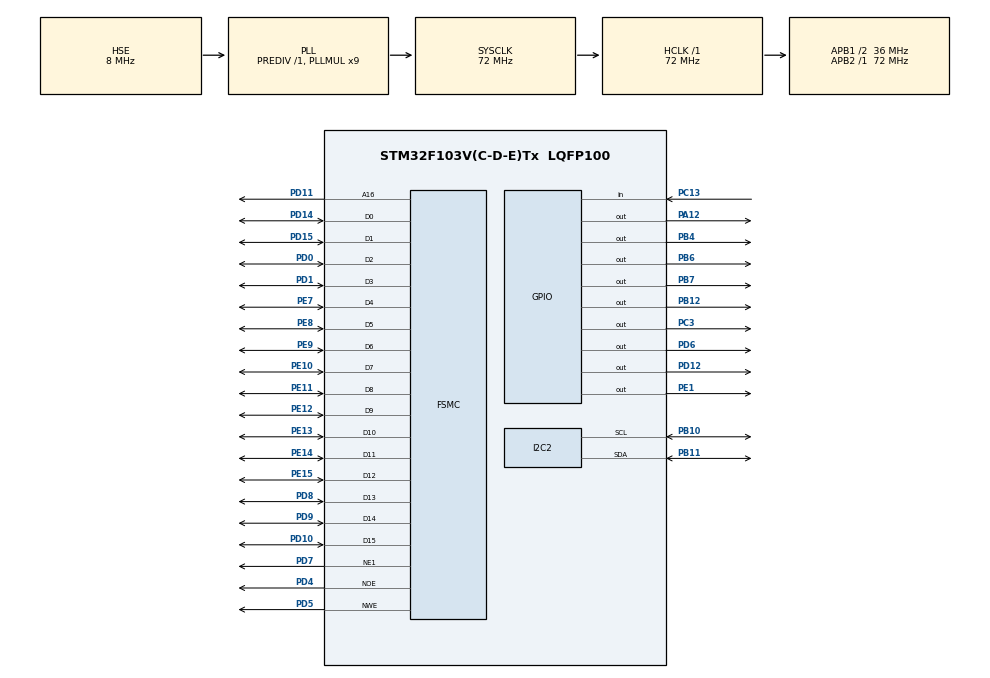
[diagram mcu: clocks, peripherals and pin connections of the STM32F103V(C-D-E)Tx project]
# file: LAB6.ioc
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Mcu.Family=STM32F1
Mcu.Name=STM32F103V(C-D-E)Tx
Mcu.Package=LQFP100
NVIC.PriorityGroup=NVIC_PRIORITYGROUP_4
OSC_IN.Mode=HSE-External-Oscillator
OSC_IN.Signal=RCC_OSC_IN
OSC_OUT.Mode=HSE-External-Oscillator
OSC_OUT.Signal=RCC_OSC_OUT
PA12.GPIO_PuPd=GPIO_PULLUP
PA12.GPIO_Speed=GPIO_SPEED_FREQ_HIGH
PA12.PinState=GPIO_PIN_SET
PA12.Signal=GPIO_Output
PA13.Mode=Serial_Wire
PA13.Signal=SYS_JTMS-SWDIO
PA14.Mode=Serial_Wire
PA14.Signal=SYS_JTCK-SWCLK
PB10.Mode=I2C
PB10.Signal=I2C2_SCL
PB11.Mode=I2C
PB11.Signal=I2C2_SDA
PB12.GPIO_PuPd=GPIO_PULLUP
PB12.GPIO_Speed=GPIO_SPEED_FREQ_HIGH
PB12.PinState=GPIO_PIN_SET
PB12.Signal=GPIO_Output
PB4.GPIO_PuPd=GPIO_PULLUP
PB4.GPIO_Speed=GPIO_SPEED_FREQ_HIGH
PB4.PinState=GPIO_PIN_SET
PB4.Signal=GPIO_Output
PB6.GPIO_PuPd=GPIO_PULLUP
PB6.GPIO_Speed=GPIO_SPEED_FREQ_HIGH
PB6.PinState=GPIO_PIN_SET
PB6.Signal=GPIO_Output
PB7.GPIO_PuPd=GPIO_PULLUP
PB7.GPIO_Speed=GPIO_SPEED_FREQ_HIGH
PB7.PinState=GPIO_PIN_SET
PB7.Signal=GPIO_Output
PC13-TAMPER-RTC.Signal=GPIO_Input
PC14-OSC32_IN.Mode=LSE-External-Oscillator
PC14-OSC32_IN.Signal=RCC_OSC32_IN
PC15-OSC32_OUT.Mode=LSE-External-Oscillator
PC15-OSC32_OUT.Signal=RCC_OSC32_OUT
PC3.GPIO_PuPd=GPIO_PULLUP
PC3.GPIO_Speed=GPIO_SPEED_FREQ_HIGH
PC3.PinState=GPIO_PIN_SET
PC3.Signal=GPIO_Output
PD0.Mode=16b-d1
PD0.Signal=FSMC_D2
PD1.Mode=16b-d1
PD1.Signal=FSMC_D3
PD10.Mode=16b-d1
PD10.Signal=FSMC_D15
PD11.Mode=A16_1
PD11.Signal=FSMC_A16
PD12.GPIO_Speed=GPIO_SPEED_FREQ_HIGH
PD12.Signal=GPIO_Output
PD14.Mode=16b-d1
PD14.Signal=FSMC_D0
PD15.Mode=16b-d1
PD15.Signal=FSMC_D1
PD4.Mode=Lcd1
PD4.Signal=FSMC_NOE
PD5.Mode=Lcd1
PD5.Signal=FSMC_NWE
PD6.GPIO_PuPd=GPIO_PULLUP
PD6.GPIO_Speed=GPIO_SPEED_FREQ_HIGH
PD6.PinState=GPIO_PIN_SET
PD6.Signal=GPIO_Output
PD7.Mode=NorPsramChipSelect1_1
PD7.Signal=FSMC_NE1
PD8.Mode=16b-d1
PD8.Signal=FSMC_D13
PD9.Mode=16b-d1
PD9.Signal=FSMC_D14
PE1.GPIO_Speed=GPIO_SPEED_FREQ_HIGH
PE1.Signal=GPIO_Output
PE10.Mode=16b-d1
PE10.Signal=FSMC_D7
PE11.Mode=16b-d1
PE11.Signal=FSMC_D8
PE12.Mode=16b-d1
PE12.Signal=FSMC_D9
PE13.Mode=16b-d1
PE13.Signal=FSMC_D10
PE14.Mode=16b-d1
PE14.Signal=FSMC_D11
PE15.Mode=16b-d1
PE15.Signal=FSMC_D12
PE7.Mode=16b-d1
PE7.Signal=FSMC_D4
PE8.Mode=16b-d1
PE8.Signal=FSMC_D5
PE9.Mode=16b-d1
PE9.Signal=FSMC_D6
ProjectManager.HeapSize=0x200
ProjectManager.StackSize=0x400
ProjectManager.TargetToolchain=STM32CubeIDE
RCC.AHBFreq_Value=72000000
RCC.APB1CLKDivider=RCC_HCLK_DIV2
RCC.APB1Freq_Value=36000000
RCC.APB1TimFreq_Value=72000000
RCC.APB2Freq_Value=72000000
RCC.APB2TimFreq_Value=72000000
RCC.HCLKFreq_Value=72000000
RCC.PLLMUL=RCC_PLL_MUL9
RCC.PLLSourceVirtual=RCC_PLLSOURCE_HSE
RCC.SYSCLKFreq_VALUE=72000000
RCC.SYSCLKSource=RCC_SYSCLKSOURCE_PLLCLK
RCC.USBFreq_Value=72000000
board=custom

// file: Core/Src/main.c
/* USER CODE BEGIN Header */
/**
  ******************************************************************************
  * @file           : main.c
  * @brief          : Main program body
  ******************************************************************************
  * @attention
  *
  * Copyright (c) 2022 STMicroelectronics.
  * All rights reserved.
  *
  * This software is licensed under terms that can be found in the LICENSE file
  * in the root directory of this software component.
  * If no LICENSE file comes with this software, it is provided AS-IS.
  *
  ******************************************************************************
  */
/* USER CODE END Header */
#include "main.h"

/* USER CODE BEGIN Includes */
#include "lcd.h"
#include "math.h"
/* USER CODE END Includes */

I2C_HandleTypeDef hi2c2;

SRAM_HandleTypeDef hsram1;

/* USER CODE BEGIN PV */
const uint8_t seven_seg_leds[10][7] = {
	{1, 1, 1, 1, 1, 1, 0}, // 0
	{0, 1, 1, 0, 0, 0, 0}, // 1
	{1, 1, 0, 1, 1, 0, 1}, // 2
	{1, 1, 1, 1, 0, 0, 1}, // 3
	{0, 1, 1, 0, 0, 1, 1}, // 4
	{1, 0, 1, 1, 0, 1, 1}, // 5
	{1, 0, 0, 1, 1, 1, 1}, // 6
	{1, 1, 1, 0, 0, 0, 0}, // 7
	{1, 1, 1, 1, 1, 1, 1}, // 8
	{1, 1, 1, 1, 0, 1, 1}, // 9
};
#define seven_seg_gpio(num) \
	HAL_GPIO_WritePin(GPIOB, GPIO_PIN_7, !seven_seg_leds[num][0]); \
	HAL_GPIO_WritePin(GPIOB, GPIO_PIN_6, !seven_seg_leds[num][1]); \
	HAL_GPIO_WritePin(GPIOB, GPIO_PIN_4, !seven_seg_leds[num][2]); \
	HAL_GPIO_WritePin(GPIOB, GPIO_PIN_12, !seven_seg_leds[num][3]); \
	HAL_GPIO_WritePin(GPIOC, GPIO_PIN_3, !seven_seg_leds[num][4]); \
	HAL_GPIO_WritePin(GPIOD, GPIO_PIN_6, !seven_seg_leds[num][5]); \
	HAL_GPIO_WritePin(GPIOA, GPIO_PIN_12, !seven_seg_leds[num][6]); \
/* USER CODE END PV */

void SystemClock_Config(void);
static void MX_GPIO_Init(void);
static void MX_FSMC_Init(void);
static void MX_I2C2_Init(void);

int main(void)
{

  /* MCU Configuration--------------------------------------------------------*/

  /* Reset of all peripherals, Initializes the Flash interface and the Systick. */
  HAL_Init();

  /* Configure the system clock */
  SystemClock_Config();

  /* Initialize all configured peripherals */
  MX_GPIO_Init();
  MX_FSMC_Init();
  MX_I2C2_Init();
  /* USER CODE BEGIN 2 */
  LCD_INIT();
  /* USER CODE END 2 */

  /* Infinite loop */
  /* USER CODE BEGIN WHILE */
  uint32_t last_tick = HAL_GetTick();
  uint32_t prev_SR = 0, prev_LR = 0;
  uint32_t now_SR = 0, now_LR = 0;
  uint8_t screen_state = 0;
  uint8_t btn_k2_pressed = 0;
  uint8_t angle;
  uint8_t status;
  uint8_t temp;
  char buff[100];

  /**
   * screen_state
   * 0 = normal
   * 1 = name
   * 2 = image
   */
  while (1)
  {
  //	  LCD_Clear(0, 0, 240, 320, BACKGROUND);
  //	  if (HAL_GetTick() - last_tick > 1000) {
  //		  last_tick = HAL_GetTick();
  //	  }

	  if (HAL_GPIO_ReadPin(GPIOC, GPIO_PIN_13) == GPIO_PIN_SET) {
		  if (!btn_k2_pressed) {
			  btn_k2_pressed = 1;
//			  screen_state = (screen_state + 1) % 3;
//			  LCD_Clear(0, 0, 240, 320, BACKGROUND);
//			  if (screen_state == 2)
//				  	 LCD_PrintImage();
		  }
	  } else {
		  btn_k2_pressed = 0;
	  }

	  // Reading the I2C
#define HCM5883_Addr (0x1E)
//	  HAL_I2C_Mem_Read(&hi2c2, HMC5883_Addr << 1, 0x6C, 1, &angle, 1, 100);

	  // write to CRA the 8-average, 15 Hz
	  temp = 0x70;
	  HAL_I2C_Mem_Write(&hi2c2, HCM5883_Addr << 1, 0x00, 1, &temp, 1, 100);
	  // write to CRB the gain
	  temp = 0xA0;
	  HAL_I2C_Mem_Write(&hi2c2, HCM5883_Addr << 1, 0x01, 1, &temp, 1, 100);

	  // For each measurement query:
	  // Write the mode register to read data
	  temp = 0x01;
	  HAL_I2C_Mem_Write(&hi2c2, HCM5883_Addr << 1, 0x02, 1, &temp, 1, 100);
	  // Wait 6 ms or monitor status register or DRDY hardware interrupt pin
	  HAL_Delay(6);
	  do {
		  HAL_I2C_Mem_Read(&hi2c2, HCM5883_Addr << 1, 0x09, 1, &status, 1, 100);
	  } while (status == 0);

	  // Read the X, Z, Y data
	  union {
		  uint8_t raw[6];
		  struct {
			  uint16_t X;
			  uint16_t Z;
			  uint16_t Y;
		  };
	  } data;

	  HAL_I2C_Mem_Read(&hi2c2, HCM5883_Addr << 1, 0x03, 6, data.raw, 1, 100);

	  angle = atan2(data.Y, data.X);

	  sprintf(buff, "Angle: %d", angle);
	  LCD_DrawString(0, 0, buff);

	  // -----------------

	  /*
	   *
	   * 20851871
	   *
	   * 20 VREF-
	   * 08 PC14-OSC32_IN OSC32IN (32k Oscillator)
	   * 85 PD4
	   * 51 PB12
	   * 18 PC3
	   * 87 PD6
	   * 71 PA12
	   *
	   * Usable pins:
	   *
	   * A
	   * B
	   * C PD4
	   * D PB12
	   * E PC3
	   * F PD6
	   * G PA12
	   *
	   *
	   */

	  seven_seg_gpio(angle%10);

//	  prev_SR = now_SR;
//	  prev_LR = now_LR;
//	  now_SR = 50;
//	  now_LR = (uint32_t) 25 * (1 + sin((HAL_GetTick() / 500.0f) * 2 * 3.1415926f));
//
//	  switch (screen_state) {
//	  case 0:
//		  LCD_DrawString(100, 100, "Hartanto Kwee Jeffrey is very fat and disgusting. This is very very interesting.");
//		  LCD_DrawEllipse(120, 200, now_SR, now_LR, RED);
//		  LCD_DrawEllipse(120, 200, prev_SR, prev_LR, BACKGROUND);
//		  break;
//	  case 1:
//		  LCD_WriteName(0, 0);
//		  break;
//	  default: break;
//	  }

  //	  now_LR = 100;
  //	  LCD_DrawEllipse(100, 200, prev_SR, prev_LR, BACKGROUND);
  //	  LCD_Clear(120 - prev_LR, 200 - prev_SR, prev_LR * 2, prev_SR *2, BACKGROUND);

  //	  HAL_Delay(10);
    /* USER CODE END WHILE */

  }
}

void SystemClock_Config(void)
{
  RCC_OscInitTypeDef RCC_OscInitStruct = {0};
  RCC_ClkInitTypeDef RCC_ClkInitStruct = {0};

  /** Initializes the RCC Oscillators according to the specified parameters
  * in the RCC_OscInitTypeDef structure.
  */
  RCC_OscInitStruct.OscillatorType = RCC_OSCILLATORTYPE_HSE;
  RCC_OscInitStruct.HSEState = RCC_HSE_ON;
  RCC_OscInitStruct.HSEPredivValue = RCC_HSE_PREDIV_DIV1;
  RCC_OscInitStruct.HSIState = RCC_HSI_ON;
  RCC_OscInitStruct.PLL.PLLState = RCC_PLL_ON;
  RCC_OscInitStruct.PLL.PLLSource = RCC_PLLSOURCE_HSE;
  RCC_OscInitStruct.PLL.PLLMUL = RCC_PLL_MUL9;
  if (HAL_RCC_OscConfig(&RCC_OscInitStruct) != HAL_OK)
  {
    Error_Handler();
  }

  /** Initializes the CPU, AHB and APB buses clocks
  */
  RCC_ClkInitStruct.ClockType = RCC_CLOCKTYPE_HCLK|RCC_CLOCKTYPE_SYSCLK
                              |RCC_CLOCKTYPE_PCLK1|RCC_CLOCKTYPE_PCLK2;
  RCC_ClkInitStruct.SYSCLKSource = RCC_SYSCLKSOURCE_PLLCLK;
  RCC_ClkInitStruct.AHBCLKDivider = RCC_SYSCLK_DIV1;
  RCC_ClkInitStruct.APB1CLKDivider = RCC_HCLK_DIV2;
  RCC_ClkInitStruct.APB2CLKDivider = RCC_HCLK_DIV1;

  if (HAL_RCC_ClockConfig(&RCC_ClkInitStruct, FLASH_LATENCY_2) != HAL_OK)
  {
    Error_Handler();
  }
}

static void MX_I2C2_Init(void)
{

  hi2c2.Instance = I2C2;
  hi2c2.Init.ClockSpeed = 100000;
  hi2c2.Init.DutyCycle = I2C_DUTYCYCLE_2;
  hi2c2.Init.OwnAddress1 = 0;
  hi2c2.Init.AddressingMode = I2C_ADDRESSINGMODE_7BIT;
  hi2c2.Init.DualAddressMode = I2C_DUALADDRESS_DISABLE;
  hi2c2.Init.OwnAddress2 = 0;
  hi2c2.Init.GeneralCallMode = I2C_GENERALCALL_DISABLE;
  hi2c2.Init.NoStretchMode = I2C_NOSTRETCH_DISABLE;
  if (HAL_I2C_Init(&hi2c2) != HAL_OK)
  {
    Error_Handler();
  }

}

static void MX_GPIO_Init(void)
{
  GPIO_InitTypeDef GPIO_InitStruct = {0};

  /* GPIO Ports Clock Enable */
  __HAL_RCC_GPIOC_CLK_ENABLE();
  __HAL_RCC_GPIOE_CLK_ENABLE();
  __HAL_RCC_GPIOB_CLK_ENABLE();
  __HAL_RCC_GPIOD_CLK_ENABLE();
  __HAL_RCC_GPIOA_CLK_ENABLE();

  /*Configure GPIO pin Output Level */
  HAL_GPIO_WritePin(GPIOC, GPIO_PIN_3, GPIO_PIN_SET);

  /*Configure GPIO pin Output Level */
  HAL_GPIO_WritePin(GPIOB, GPIO_PIN_12|GPIO_PIN_4|GPIO_PIN_6|GPIO_PIN_7, GPIO_PIN_SET);

  /*Configure GPIO pin Output Level */
  HAL_GPIO_WritePin(GPIOD, GPIO_PIN_12, GPIO_PIN_RESET);

  /*Configure GPIO pin Output Level */
  HAL_GPIO_WritePin(GPIOA, GPIO_PIN_12, GPIO_PIN_SET);

  /*Configure GPIO pin Output Level */
  HAL_GPIO_WritePin(GPIOD, GPIO_PIN_6, GPIO_PIN_SET);

  /*Configure GPIO pin Output Level */
  HAL_GPIO_WritePin(GPIOE, GPIO_PIN_1, GPIO_PIN_RESET);

  /*Configure GPIO pin : PC13 */
  GPIO_InitStruct.Pin = GPIO_PIN_13;
  GPIO_InitStruct.Mode = GPIO_MODE_INPUT;
  GPIO_InitStruct.Pull = GPIO_NOPULL;
  HAL_GPIO_Init(GPIOC, &GPIO_InitStruct);

  /*Configure GPIO pin : PC3 */
  GPIO_InitStruct.Pin = GPIO_PIN_3;
  GPIO_InitStruct.Mode = GPIO_MODE_OUTPUT_PP;
  GPIO_InitStruct.Pull = GPIO_PULLUP;
  GPIO_InitStruct.Speed = GPIO_SPEED_FREQ_HIGH;
  HAL_GPIO_Init(GPIOC, &GPIO_InitStruct);

  /*Configure GPIO pins : PB12 PB4 PB6 PB7 */
  GPIO_InitStruct.Pin = GPIO_PIN_12|GPIO_PIN_4|GPIO_PIN_6|GPIO_PIN_7;
  GPIO_InitStruct.Mode = GPIO_MODE_OUTPUT_PP;
  GPIO_InitStruct.Pull = GPIO_PULLUP;
  GPIO_InitStruct.Speed = GPIO_SPEED_FREQ_HIGH;
  HAL_GPIO_Init(GPIOB, &GPIO_InitStruct);

  /*Configure GPIO pin : PD12 */
  GPIO_InitStruct.Pin = GPIO_PIN_12;
  GPIO_InitStruct.Mode = GPIO_MODE_OUTPUT_PP;
  GPIO_InitStruct.Pull = GPIO_NOPULL;
  GPIO_InitStruct.Speed = GPIO_SPEED_FREQ_HIGH;
  HAL_GPIO_Init(GPIOD, &GPIO_InitStruct);

  /*Configure GPIO pin : PA12 */
  GPIO_InitStruct.Pin = GPIO_PIN_12;
  GPIO_InitStruct.Mode = GPIO_MODE_OUTPUT_PP;
  GPIO_InitStruct.Pull = GPIO_PULLUP;
  GPIO_InitStruct.Speed = GPIO_SPEED_FREQ_HIGH;
  HAL_GPIO_Init(GPIOA, &GPIO_InitStruct);

  /*Configure GPIO pin : PD6 */
  GPIO_InitStruct.Pin = GPIO_PIN_6;
  GPIO_InitStruct.Mode = GPIO_MODE_OUTPUT_PP;
  GPIO_InitStruct.Pull = GPIO_PULLUP;
  GPIO_InitStruct.Speed = GPIO_SPEED_FREQ_HIGH;
  HAL_GPIO_Init(GPIOD, &GPIO_InitStruct);

  /*Configure GPIO pin : PE1 */
  GPIO_InitStruct.Pin = GPIO_PIN_1;
  GPIO_InitStruct.Mode = GPIO_MODE_OUTPUT_PP;
  GPIO_InitStruct.Pull = GPIO_NOPULL;
  GPIO_InitStruct.Speed = GPIO_SPEED_FREQ_HIGH;
  HAL_GPIO_Init(GPIOE, &GPIO_InitStruct);

}

/* FSMC initialization function */
static void MX_FSMC_Init(void)
{

  FSMC_NORSRAM_TimingTypeDef Timing = {0};

  /** Perform the SRAM1 memory initialization sequence
  */
  hsram1.Instance = FSMC_NORSRAM_DEVICE;
  hsram1.Extended = FSMC_NORSRAM_EXTENDED_DEVICE;
  /* hsram1.Init */
  hsram1.Init.NSBank = FSMC_NORSRAM_BANK1;
  hsram1.Init.DataAddressMux = FSMC_DATA_ADDRESS_MUX_DISABLE;
  hsram1.Init.MemoryType = FSMC_MEMORY_TYPE_SRAM;
  hsram1.Init.MemoryDataWidth = FSMC_NORSRAM_MEM_BUS_WIDTH_16;
  hsram1.Init.BurstAccessMode = FSMC_BURST_ACCESS_MODE_DISABLE;
  hsram1.Init.WaitSignalPolarity = FSMC_WAIT_SIGNAL_POLARITY_LOW;
  hsram1.Init.WrapMode = FSMC_WRAP_MODE_DISABLE;
  hsram1.Init.WaitSignalActive = FSMC_WAIT_TIMING_BEFORE_WS;
  hsram1.Init.WriteOperation = FSMC_WRITE_OPERATION_ENABLE;
  hsram1.Init.WaitSignal = FSMC_WAIT_SIGNAL_DISABLE;
  hsram1.Init.ExtendedMode = FSMC_EXTENDED_MODE_DISABLE;
  hsram1.Init.AsynchronousWait = FSMC_ASYNCHRONOUS_WAIT_DISABLE;
  hsram1.Init.WriteBurst = FSMC_WRITE_BURST_DISABLE;
  /* Timing */
  Timing.AddressSetupTime = 15;
  Timing.AddressHoldTime = 15;
  Timing.DataSetupTime = 255;
  Timing.BusTurnAroundDuration = 15;
  Timing.CLKDivision = 16;
  Timing.DataLatency = 17;
  Timing.AccessMode = FSMC_ACCESS_MODE_A;
  /* ExtTiming */

  if (HAL_SRAM_Init(&hsram1, &Timing, NULL) != HAL_OK)
  {
    Error_Handler( );
  }

  /** Disconnect NADV
  */

  __HAL_AFIO_FSMCNADV_DISCONNECTED();

}

void Error_Handler(void)
{
  __disable_irq();
  while (1)
  {
  }
}
